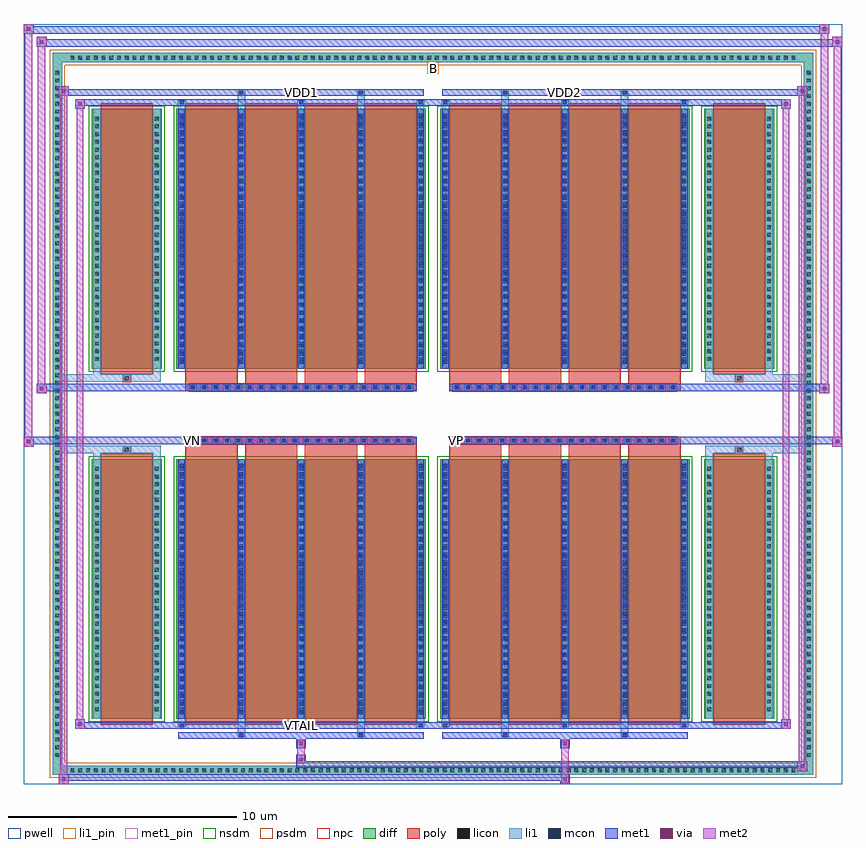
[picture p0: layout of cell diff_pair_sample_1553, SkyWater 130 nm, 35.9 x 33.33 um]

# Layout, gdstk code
import gdstk
lib = gdstk.Library(unit=1e-6, precision=5e-09)
def R(c, l, rs):  # rectangles x0, y0, x1, y1
    for r in rs: c.add(gdstk.rectangle(r[:2], r[2:], *l))
def A(c, l, x, y, w, h, nx, ny, dx, dy):  # array of equal rectangles
    R(c, l, [(x+i*dx, y+j*dy, x+i*dx+w, y+j*dy+h) for i in range(nx) for j in range(ny)])
def P(c, l, *ps):  # polygons
    for p in ps: c.add(gdstk.Polygon(p, *l))
pwell = (64, 44)
diff = (65, 20)
poly = (66, 20)
licon = (66, 44)
li1_pin = (67, 16)
li1 = (67, 20)
mcon = (67, 44)
met1_pin = (68, 16)
met1 = (68, 20)
via = (68, 44)
met2 = (69, 20)
nsdm = (93, 44)
psdm = (94, 20)
npc = (95, 20)

diff_pair_sample_1553 = lib.new_cell('diff_pair_sample_1553')
R(diff_pair_sample_1553, pwell, [(-17.95,-16.23,17.95,17.1), (-15.27,-14.42,-0.01,-0.8), (0.01,-14.42,15.27,-0.8), (-15.27,0.8,-0.01,14.42), (0.01,0.8,15.27,14.42)])
A(diff_pair_sample_1553, diff, -16.015, -15.83, 0.41, 0.41, 94, 2, 0.34, 31.25)
A(diff_pair_sample_1553, diff, -16.68, -15.165, 0.41, 0.41, 1, 89, 0, 0.34)
A(diff_pair_sample_1553, diff, 16.27, -15.165, 0.41, 0.41, 1, 89, 0, 0.34)
R(diff_pair_sample_1553, diff, [(-16.015,-15.83,16.015,-15.42), (-16.68,-15.165,-16.27,15.165), (16.27,-15.165,16.68,15.165), (-14.96,-13.375,-11.89,-1.985), (-11.25,-13.375,-0.32,-1.985), (0.32,-13.375,11.25,-1.985), (11.89,-13.375,14.96,-1.985), (-14.96,1.985,-11.89,13.375), (-11.25,1.985,-0.32,13.375), (0.32,1.985,11.25,13.375), (11.89,1.985,14.96,13.375), (-16.015,15.42,16.015,15.83)])
P(diff_pair_sample_1553, diff, [(16.68,15.83),(-16.68,15.83),(-16.68,-15.42),(-16.27,-15.42),(-16.27,15.42),(16.27,15.42),(16.27,-15.42),(-16.27,-15.42),(-16.68,-15.42),(-16.68,-15.83),(16.68,-15.83)])
A(diff_pair_sample_1553, poly, -10.86, -13.625, 2.29, 11.89, 4, 2, 2.62, 15.36)
A(diff_pair_sample_1553, poly, 0.71, -13.625, 2.29, 11.89, 4, 2, 2.62, 15.36)
A(diff_pair_sample_1553, poly, -10.86, -1.735, 2.29, 0.405, 4, 2, 2.62, 3.065)
A(diff_pair_sample_1553, poly, 0.71, -1.735, 2.29, 0.405, 4, 2, 2.62, 3.065)
A(diff_pair_sample_1553, poly, -10.7, -1.33, 0.33, 0.33, 20, 2, 0.5, 2.33)
A(diff_pair_sample_1553, poly, 0.87, -1.33, 0.33, 0.33, 20, 2, 0.5, 2.33)
R(diff_pair_sample_1553, poly, [(-14.57,-13.625,-12.28,-1.735), (12.28,-13.625,14.57,-1.735), (-13.59,-1.735,-13.26,-1.405), (-13.59,-1.735,-13.26,-1.405), (13.26,-1.735,13.59,-1.405), (13.26,-1.735,13.59,-1.405), (-10.86,-1.33,-0.71,-1), (0.71,-1.33,10.86,-1), (-10.86,1,-0.71,1.33), (0.71,1,10.86,1.33), (-13.59,1.405,-13.26,1.735), (-13.59,1.405,-13.26,1.735), (13.26,1.405,13.59,1.735), (13.26,1.405,13.59,1.735), (-14.57,1.735,-12.28,13.625), (12.28,1.735,14.57,13.625)])
A(diff_pair_sample_1553, licon, -15.895, -15.71, 0.17, 0.17, 94, 2, 0.34, 31.25)
A(diff_pair_sample_1553, licon, -16.56, -15.045, 0.17, 0.17, 1, 89, 0, 0.34)
A(diff_pair_sample_1553, licon, 16.39, -15.045, 0.17, 0.17, 1, 89, 0, 0.34)
A(diff_pair_sample_1553, licon, -14.82, -13.035, 0.17, 0.17, 1, 32, 0, 0.34)
A(diff_pair_sample_1553, licon, -12.2, -13.035, 0.17, 0.17, 1, 32, 0, 0.34)
A(diff_pair_sample_1553, licon, -11.11, -13.035, 0.17, 0.17, 5, 32, 2.62, 0.34)
A(diff_pair_sample_1553, licon, 0.46, -13.035, 0.17, 0.17, 5, 32, 2.62, 0.34)
A(diff_pair_sample_1553, licon, 12.03, -13.035, 0.17, 0.17, 1, 32, 0, 0.34)
A(diff_pair_sample_1553, licon, 14.65, -13.035, 0.17, 0.17, 1, 32, 0, 0.34)
A(diff_pair_sample_1553, licon, -10.62, -1.25, 0.17, 0.17, 20, 2, 0.5, 2.33)
A(diff_pair_sample_1553, licon, 0.95, -1.25, 0.17, 0.17, 20, 2, 0.5, 2.33)
A(diff_pair_sample_1553, licon, -14.82, 2.325, 0.17, 0.17, 1, 32, 0, 0.34)
A(diff_pair_sample_1553, licon, -12.2, 2.325, 0.17, 0.17, 1, 32, 0, 0.34)
A(diff_pair_sample_1553, licon, -11.11, 2.325, 0.17, 0.17, 5, 32, 2.62, 0.34)
A(diff_pair_sample_1553, licon, 0.46, 2.325, 0.17, 0.17, 5, 32, 2.62, 0.34)
A(diff_pair_sample_1553, licon, 12.03, 2.325, 0.17, 0.17, 1, 32, 0, 0.34)
A(diff_pair_sample_1553, licon, 14.65, 2.325, 0.17, 0.17, 1, 32, 0, 0.34)
R(diff_pair_sample_1553, licon, [(-13.51,-1.655,-13.34,-1.485), (13.34,-1.655,13.51,-1.485), (-13.51,1.485,-13.34,1.655), (13.34,1.485,13.51,1.655)])
R(diff_pair_sample_1553, li1_pin, [(-0.25,14.92,0.25,15.42)])
A(diff_pair_sample_1553, li1, -15.975, -15.79, 0.33, 0.33, 94, 2, 0.34, 31.25)
A(diff_pair_sample_1553, li1, -16.64, -15.125, 0.33, 0.33, 1, 89, 0, 0.34)
A(diff_pair_sample_1553, li1, 16.31, -15.125, 0.33, 0.33, 1, 89, 0, 0.34)
A(diff_pair_sample_1553, li1, -11.19, -13.75, 0.33, 0.375, 3, 2, 5.24, 27.125)
A(diff_pair_sample_1553, li1, -11.11, -13.75, 0.17, 0.17, 3, 2, 5.24, 27.33)
A(diff_pair_sample_1553, li1, 0.38, -13.75, 0.33, 0.375, 3, 2, 5.24, 27.125)
A(diff_pair_sample_1553, li1, 0.46, -13.75, 0.17, 0.17, 3, 2, 5.24, 27.33)
A(diff_pair_sample_1553, li1, -11.19, -13.375, 0.33, 11.39, 5, 2, 2.62, 15.36)
A(diff_pair_sample_1553, li1, 0.38, -13.375, 0.33, 11.39, 5, 2, 2.62, 15.36)
A(diff_pair_sample_1553, li1, -11.11, -13.165, 0.17, 0.17, 5, 31, 2.62, 0.36)
A(diff_pair_sample_1553, li1, -11.11, -13.165, 0.17, 10.97, 5, 2, 2.62, 15.36)
A(diff_pair_sample_1553, li1, 0.46, -13.165, 0.17, 0.17, 5, 31, 2.62, 0.36)
A(diff_pair_sample_1553, li1, 0.46, -13.165, 0.17, 10.97, 5, 2, 2.62, 15.36)
A(diff_pair_sample_1553, li1, -14.9, -13.115, 0.33, 0.33, 1, 32, 0, 0.34)
A(diff_pair_sample_1553, li1, -12.28, -13.115, 0.33, 0.33, 1, 32, 0, 0.34)
A(diff_pair_sample_1553, li1, -11.19, -13.115, 0.33, 0.33, 5, 32, 2.62, 0.34)
A(diff_pair_sample_1553, li1, 0.38, -13.115, 0.33, 0.33, 5, 32, 2.62, 0.34)
A(diff_pair_sample_1553, li1, 11.95, -13.115, 0.33, 0.33, 1, 32, 0, 0.34)
A(diff_pair_sample_1553, li1, 14.57, -13.115, 0.33, 0.33, 1, 32, 0, 0.34)
A(diff_pair_sample_1553, li1, -10.7, -1.33, 0.33, 0.33, 20, 2, 0.5, 2.33)
A(diff_pair_sample_1553, li1, 0.87, -1.33, 0.33, 0.33, 20, 2, 0.5, 2.33)
A(diff_pair_sample_1553, li1, -11.11, 2.195, 0.17, 0.17, 5, 31, 2.62, 0.36)
A(diff_pair_sample_1553, li1, 0.46, 2.195, 0.17, 0.17, 5, 31, 2.62, 0.36)
A(diff_pair_sample_1553, li1, -14.9, 2.245, 0.33, 0.33, 1, 32, 0, 0.34)
A(diff_pair_sample_1553, li1, -12.28, 2.245, 0.33, 0.33, 1, 32, 0, 0.34)
A(diff_pair_sample_1553, li1, -11.19, 2.245, 0.33, 0.33, 5, 32, 2.62, 0.34)
A(diff_pair_sample_1553, li1, 0.38, 2.245, 0.33, 0.33, 5, 32, 2.62, 0.34)
A(diff_pair_sample_1553, li1, 11.95, 2.245, 0.33, 0.33, 1, 32, 0, 0.34)
A(diff_pair_sample_1553, li1, 14.57, 2.245, 0.33, 0.33, 1, 32, 0, 0.34)
R(diff_pair_sample_1553, li1, [(-16.68,-15.83,-16.27,-15.42), (-16.68,-15.83,-16.27,-15.42), (-16.27,-15.83,16.27,-15.42), (16.27,-15.83,16.68,-15.42), (16.27,-15.83,16.68,-15.42), (-16.68,-15.42,-16.27,15.42), (16.27,-15.42,16.68,15.42), (-8.57,-14.18,-8.24,-13.375), (-8.49,-14.18,-8.32,-14.01), (-3.33,-14.18,-3,-13.375), (-3.25,-14.18,-3.08,-14.01), (3,-14.18,3.33,-13.375), (3.08,-14.18,3.25,-14.01), (8.24,-14.18,8.57,-13.375), (8.32,-14.18,8.49,-14.01), (-14.9,-13.375,-14.57,-1.985), (-12.28,-13.375,-11.95,-1.985), (11.95,-13.375,12.28,-1.985), (14.57,-13.375,14.9,-1.985), (-14.9,-1.985,-14.57,-1.405), (-12.28,-1.985,-11.95,-1.405), (11.95,-1.985,12.28,-1.405), (14.57,-1.985,14.9,-1.405), (-16.68,-1.735,-13.59,-1.405), (-14.9,-1.735,-13.59,-1.405), (-13.59,-1.735,-13.26,-1.405), (-13.26,-1.735,-11.95,-1.405), (11.95,-1.735,13.26,-1.405), (13.26,-1.735,13.59,-1.405), (13.26,-1.735,16.68,-1.405), (13.59,-1.735,14.9,-1.405), (-16.68,1.405,-13.59,1.735), (-14.9,1.405,-13.59,1.735), (-14.9,1.405,-14.57,1.985), (-13.59,1.405,-13.26,1.735), (-13.26,1.405,-11.95,1.735), (-12.28,1.405,-11.95,1.985), (11.95,1.405,13.26,1.735), (11.95,1.405,12.28,1.985), (13.26,1.405,13.59,1.735), (13.26,1.405,16.68,1.735), (13.59,1.405,14.9,1.735), (14.57,1.405,14.9,1.985), (-14.9,1.985,-14.57,13.375), (-12.28,1.985,-11.95,13.375), (11.95,1.985,12.28,13.375), (14.57,1.985,14.9,13.375), (-8.57,13.375,-8.24,14.18), (-3.33,13.375,-3,14.18), (3,13.375,3.33,14.18), (8.24,13.375,8.57,14.18), (-8.49,14.01,-8.32,14.18), (-3.25,14.01,-3.08,14.18), (3.08,14.01,3.25,14.18), (8.32,14.01,8.49,14.18), (-16.68,15.42,-16.27,15.83), (-16.68,15.42,-16.27,15.83), (-16.27,15.42,16.27,15.83), (16.27,15.42,16.68,15.83), (16.27,15.42,16.68,15.83)])
A(diff_pair_sample_1553, mcon, -11.11, -13.75, 0.17, 0.17, 3, 2, 5.24, 27.33)
A(diff_pair_sample_1553, mcon, 0.46, -13.75, 0.17, 0.17, 3, 2, 5.24, 27.33)
A(diff_pair_sample_1553, mcon, -11.11, -13.165, 0.17, 0.17, 5, 31, 2.62, 0.36)
A(diff_pair_sample_1553, mcon, 0.46, -13.165, 0.17, 0.17, 5, 31, 2.62, 0.36)
A(diff_pair_sample_1553, mcon, -10.62, -1.25, 0.17, 0.17, 20, 2, 0.5, 2.33)
A(diff_pair_sample_1553, mcon, 0.95, -1.25, 0.17, 0.17, 20, 2, 0.5, 2.33)
A(diff_pair_sample_1553, mcon, -11.11, 2.195, 0.17, 0.17, 5, 31, 2.62, 0.36)
A(diff_pair_sample_1553, mcon, 0.46, 2.195, 0.17, 0.17, 5, 31, 2.62, 0.36)
R(diff_pair_sample_1553, mcon, [(-8.49,-14.18,-8.32,-14.01), (-3.25,-14.18,-3.08,-14.01), (3.08,-14.18,3.25,-14.01), (8.32,-14.18,8.49,-14.01), (-8.49,14.01,-8.32,14.18), (-3.25,14.01,-3.08,14.18), (3.08,14.01,3.25,14.18), (8.32,14.01,8.49,14.18)])
R(diff_pair_sample_1553, met1_pin, [(-5.92,-13.79,-5.65,-13.52), (-10.67,-1.29,-10.4,-1.02), (0.9,-1.29,1.17,-1.02), (-5.92,13.97,-5.65,14.24), (5.65,13.97,5.92,14.24)])
A(diff_pair_sample_1553, met1, -11.17, -13.81, 0.29, 0.29, 3, 2, 5.24, 27.33)
A(diff_pair_sample_1553, met1, 0.4, -13.81, 0.29, 0.29, 3, 2, 5.24, 27.33)
A(diff_pair_sample_1553, met1, -11.17, -13.375, 0.29, 11.39, 5, 2, 2.62, 15.36)
A(diff_pair_sample_1553, met1, 0.4, -13.375, 0.29, 11.39, 5, 2, 2.62, 15.36)
A(diff_pair_sample_1553, met1, -11.17, -13.225, 0.29, 0.29, 5, 31, 2.62, 0.36)
A(diff_pair_sample_1553, met1, 0.4, -13.225, 0.29, 0.29, 5, 31, 2.62, 0.36)
A(diff_pair_sample_1553, met1, -10.68, -1.31, 0.29, 0.29, 20, 2, 0.5, 2.33)
A(diff_pair_sample_1553, met1, 0.89, -1.31, 0.29, 0.29, 20, 2, 0.5, 2.33)
A(diff_pair_sample_1553, met1, -11.17, 2.135, 0.29, 0.29, 5, 31, 2.62, 0.36)
A(diff_pair_sample_1553, met1, 0.4, 2.135, 0.29, 0.29, 5, 31, 2.62, 0.36)
R(diff_pair_sample_1553, met1, [(-16.41,-16.23,-15.98,-15.8), (5.57,-16.23,6,-15.8), (-16.41,-16.09,6,-15.8), (15.98,-15.66,16.41,-15.23), (-6,-15.52,16.41,-15.23), (-6,-15.38,-5.57,-14.95), (-6,-14.67,-5.57,-14.24), (5.57,-14.67,6,-14.24), (-11.17,-14.24,-0.4,-13.95), (-8.55,-14.24,-8.26,-13.95), (-3.31,-14.24,-3.02,-13.95), (0.4,-14.24,11.17,-13.95), (3.02,-14.24,3.31,-13.95), (8.26,-14.24,8.55,-13.95), (-15.7,-13.81,-15.27,-13.38), (-15.7,-13.81,-11.17,-13.52), (-11.17,-13.81,-0.4,-13.52), (-0.4,-13.81,0.4,-13.52), (0.4,-13.81,11.17,-13.52), (11.17,-13.81,15.7,-13.52), (15.27,-13.81,15.7,-13.38), (-17.95,-1.43,-17.52,-1), (17.52,-1.43,17.95,-1), (-17.95,-1.33,-0.71,-1), (-10.86,-1.33,-0.71,-1), (0.71,-1.33,10.86,-1), (0.71,-1.33,17.95,-1), (-17.38,0.9,-16.95,1.33), (16.95,0.9,17.38,1.33), (-17.38,1,-10.86,1.33), (-10.86,1,-0.71,1.33), (0.71,1,10.86,1.33), (10.86,1,17.38,1.33), (-15.7,13.38,-15.27,13.81), (15.27,13.38,15.7,13.81), (-15.7,13.52,-11.17,13.81), (-11.17,13.52,-0.4,13.81), (-0.4,13.52,0.4,13.81), (0.4,13.52,11.17,13.81), (11.17,13.52,15.7,13.81), (-16.41,13.95,-15.98,14.38), (-16.41,13.95,-11.17,14.24), (-11.17,13.95,-0.4,14.24), (-8.55,13.95,-8.26,14.24), (-3.31,13.95,-3.02,14.24), (0.4,13.95,11.17,14.24), (3.02,13.95,3.31,14.24), (8.26,13.95,8.55,14.24), (11.17,13.95,16.41,14.24), (15.98,13.95,16.41,14.38), (-17.38,16.1,-16.95,16.53), (-17.38,16.1,-15.27,16.43), (-15.27,16.1,15.27,16.43), (15.27,16.1,17.95,16.43), (17.52,16.1,17.95,16.53), (-17.95,16.67,-17.52,17.1), (-17.95,16.67,-15.27,17), (-15.27,16.67,15.27,17), (15.27,16.67,17.38,17), (16.95,16.67,17.38,17.1)])
R(diff_pair_sample_1553, via, [(-16.27,-16.09,-16.12,-15.94), (5.71,-16.09,5.86,-15.94), (16.12,-15.52,16.27,-15.37), (-5.86,-15.24,-5.71,-15.09), (-5.86,-14.53,-5.71,-14.38), (5.71,-14.53,5.86,-14.38), (-15.56,-13.67,-15.41,-13.52), (15.41,-13.67,15.56,-13.52), (-17.81,-1.29,-17.66,-1.14), (17.66,-1.29,17.81,-1.14), (-17.24,1.04,-17.09,1.19), (17.09,1.04,17.24,1.19), (-15.56,13.52,-15.41,13.67), (15.41,13.52,15.56,13.67), (-16.27,14.09,-16.12,14.24), (16.12,14.09,16.27,14.24), (-17.24,16.24,-17.09,16.39), (17.66,16.24,17.81,16.39), (-17.81,16.81,-17.66,16.96), (17.09,16.81,17.24,16.96)])
R(diff_pair_sample_1553, met2, [(-16.41,-16.23,-15.98,-15.8), (-16.34,-16.23,-16.05,14.38), (-16.05,-16.23,-15.98,-15.8), (-16.36,-16.18,-16.03,-15.85), (5.62,-16.18,5.95,-15.85), (5.62,-15.85,5.95,-14.62), (15.98,-15.66,16.41,-15.23), (16.05,-15.66,16.34,14.38), (16.34,-15.66,16.41,-15.23), (16.03,-15.61,16.36,-15.28), (-5.95,-15.33,-5.62,-15), (-5.95,-15,-5.62,-14.62), (-5.95,-14.62,-5.62,-14.29), (5.62,-14.62,5.95,-14.29), (-15.7,-13.81,-15.27,-13.38), (-15.63,-13.81,-15.34,13.81), (-15.34,-13.81,-15.27,-13.38), (15.27,-13.81,15.7,-13.38), (15.34,-13.81,15.63,13.81), (15.63,-13.81,15.7,-13.38), (-15.65,-13.76,-15.32,-13.43), (15.32,-13.76,15.65,-13.43), (-17.95,-1.43,-17.52,-1), (-17.9,-1.43,-17.57,17.1), (-17.57,-1.43,-17.52,-1), (17.52,-1.43,17.95,-1), (17.57,-1.43,17.9,16.53), (17.9,-1.43,17.95,-1), (-17.9,-1.38,-17.57,-1.05), (17.57,-1.38,17.9,-1.05), (-17.38,0.9,-16.95,1.33), (-17.33,0.9,-17,16.53), (-17,0.9,-16.95,1.33), (16.95,0.9,17.38,1.33), (17,0.9,17.33,17.1), (17.33,0.9,17.38,1.33), (-17.33,0.95,-17,1.28), (17,0.95,17.33,1.28), (-15.7,13.38,-15.27,13.81), (-15.34,13.38,-15.27,13.81), (15.27,13.38,15.7,13.81), (15.63,13.38,15.7,13.81), (-15.65,13.43,-15.32,13.76), (15.32,13.43,15.65,13.76), (-16.41,13.95,-15.98,14.38), (-16.05,13.95,-15.98,14.38), (15.98,13.95,16.41,14.38), (16.34,13.95,16.41,14.38), (-16.36,14,-16.03,14.33), (16.03,14,16.36,14.33), (-17.38,16.1,-16.95,16.53), (-17,16.1,-16.95,16.53), (17.52,16.1,17.95,16.53), (17.9,16.1,17.95,16.53), (-17.33,16.15,-17,16.48), (17.57,16.15,17.9,16.48), (-17.95,16.67,-17.52,17.1), (-17.57,16.67,-17.52,17.1), (16.95,16.67,17.38,17.1), (17.33,16.67,17.38,17.1), (-17.9,16.72,-17.57,17.05), (17,16.72,17.33,17.05)])
R(diff_pair_sample_1553, nsdm, [(-15.09,-13.505,-11.76,-1.855), (-11.38,-13.505,-0.19,-1.855), (0.19,-13.505,11.38,-1.855), (11.76,-13.505,15.09,-1.855), (-15.09,1.855,-11.76,13.505), (-11.38,1.855,-0.19,13.505), (0.19,1.855,11.38,13.505), (11.76,1.855,15.09,13.505)])
P(diff_pair_sample_1553, psdm, [(16.81,15.96),(-16.81,15.96),(-16.81,-15.29),(-16.14,-15.29),(-16.14,15.29),(16.14,15.29),(16.14,-15.29),(-16.14,-15.29),(-16.81,-15.29),(-16.81,-15.96),(16.81,-15.96)])
A(diff_pair_sample_1553, npc, -10.72, -1.35, 0.37, 0.37, 20, 2, 0.5, 2.33)
A(diff_pair_sample_1553, npc, 0.85, -1.35, 0.37, 0.37, 20, 2, 0.5, 2.33)
R(diff_pair_sample_1553, npc, [(-13.61,-1.755,-13.24,-1.385), (13.24,-1.755,13.61,-1.385), (-10.72,-1.35,-9.85,-0.98), (-10.72,-1.35,-9.85,-0.98), (-10.22,-1.35,-9.35,-0.98), (-10.22,-1.35,-9.35,-0.98), (-9.72,-1.35,-8.85,-0.98), (-9.72,-1.35,-8.85,-0.98), (-9.22,-1.35,-8.35,-0.98), (-9.22,-1.35,-8.35,-0.98), (-8.72,-1.35,-7.85,-0.98), (-8.72,-1.35,-7.85,-0.98), (-8.22,-1.35,-7.35,-0.98), (-8.22,-1.35,-7.35,-0.98), (-7.72,-1.35,-6.85,-0.98), (-7.72,-1.35,-6.85,-0.98), (-7.22,-1.35,-6.35,-0.98), (-7.22,-1.35,-6.35,-0.98), (-6.72,-1.35,-5.85,-0.98), (-6.72,-1.35,-5.85,-0.98), (-6.22,-1.35,-5.35,-0.98), (-6.22,-1.35,-5.35,-0.98), (-5.72,-1.35,-4.85,-0.98), (-5.72,-1.35,-4.85,-0.98), (-5.22,-1.35,-4.35,-0.98), (-5.22,-1.35,-4.35,-0.98), (-4.72,-1.35,-3.85,-0.98), (-4.72,-1.35,-3.85,-0.98), (-4.22,-1.35,-3.35,-0.98), (-4.22,-1.35,-3.35,-0.98), (-3.72,-1.35,-2.85,-0.98), (-3.72,-1.35,-2.85,-0.98), (-3.22,-1.35,-2.35,-0.98), (-3.22,-1.35,-2.35,-0.98), (-2.72,-1.35,-1.85,-0.98), (-2.72,-1.35,-1.85,-0.98), (-2.22,-1.35,-1.35,-0.98), (-2.22,-1.35,-1.35,-0.98), (-1.72,-1.35,-0.85,-0.98), (-1.72,-1.35,-0.85,-0.98), (0.85,-1.35,1.72,-0.98), (0.85,-1.35,1.72,-0.98), (1.35,-1.35,2.22,-0.98), (1.35,-1.35,2.22,-0.98), (1.85,-1.35,2.72,-0.98), (1.85,-1.35,2.72,-0.98), (2.35,-1.35,3.22,-0.98), (2.35,-1.35,3.22,-0.98), (2.85,-1.35,3.72,-0.98), (2.85,-1.35,3.72,-0.98), (3.35,-1.35,4.22,-0.98), (3.35,-1.35,4.22,-0.98), (3.85,-1.35,4.72,-0.98), (3.85,-1.35,4.72,-0.98), (4.35,-1.35,5.22,-0.98), (4.35,-1.35,5.22,-0.98), (4.85,-1.35,5.72,-0.98), (4.85,-1.35,5.72,-0.98), (5.35,-1.35,6.22,-0.98), (5.35,-1.35,6.22,-0.98), (5.85,-1.35,6.72,-0.98), (5.85,-1.35,6.72,-0.98), (6.35,-1.35,7.22,-0.98), (6.35,-1.35,7.22,-0.98), (6.85,-1.35,7.72,-0.98), (6.85,-1.35,7.72,-0.98), (7.35,-1.35,8.22,-0.98), (7.35,-1.35,8.22,-0.98), (7.85,-1.35,8.72,-0.98), (7.85,-1.35,8.72,-0.98), (8.35,-1.35,9.22,-0.98), (8.35,-1.35,9.22,-0.98), (8.85,-1.35,9.72,-0.98), (8.85,-1.35,9.72,-0.98), (9.35,-1.35,10.22,-0.98), (9.35,-1.35,10.22,-0.98), (9.85,-1.35,10.72,-0.98), (9.85,-1.35,10.72,-0.98), (-10.72,0.98,-9.85,1.35), (-10.72,0.98,-9.85,1.35), (-10.22,0.98,-9.35,1.35), (-10.22,0.98,-9.35,1.35), (-9.72,0.98,-8.85,1.35), (-9.72,0.98,-8.85,1.35), (-9.22,0.98,-8.35,1.35), (-9.22,0.98,-8.35,1.35), (-8.72,0.98,-7.85,1.35), (-8.72,0.98,-7.85,1.35), (-8.22,0.98,-7.35,1.35), (-8.22,0.98,-7.35,1.35), (-7.72,0.98,-6.85,1.35), (-7.72,0.98,-6.85,1.35), (-7.22,0.98,-6.35,1.35), (-7.22,0.98,-6.35,1.35), (-6.72,0.98,-5.85,1.35), (-6.72,0.98,-5.85,1.35), (-6.22,0.98,-5.35,1.35), (-6.22,0.98,-5.35,1.35), (-5.72,0.98,-4.85,1.35), (-5.72,0.98,-4.85,1.35), (-5.22,0.98,-4.35,1.35), (-5.22,0.98,-4.35,1.35), (-4.72,0.98,-3.85,1.35), (-4.72,0.98,-3.85,1.35), (-4.22,0.98,-3.35,1.35), (-4.22,0.98,-3.35,1.35), (-3.72,0.98,-2.85,1.35), (-3.72,0.98,-2.85,1.35), (-3.22,0.98,-2.35,1.35), (-3.22,0.98,-2.35,1.35), (-2.72,0.98,-1.85,1.35), (-2.72,0.98,-1.85,1.35), (-2.22,0.98,-1.35,1.35), (-2.22,0.98,-1.35,1.35), (-1.72,0.98,-0.85,1.35), (-1.72,0.98,-0.85,1.35), (0.85,0.98,1.72,1.35), (0.85,0.98,1.72,1.35), (1.35,0.98,2.22,1.35), (1.35,0.98,2.22,1.35), (1.85,0.98,2.72,1.35), (1.85,0.98,2.72,1.35), (2.35,0.98,3.22,1.35), (2.35,0.98,3.22,1.35), (2.85,0.98,3.72,1.35), (2.85,0.98,3.72,1.35), (3.35,0.98,4.22,1.35), (3.35,0.98,4.22,1.35), (3.85,0.98,4.72,1.35), (3.85,0.98,4.72,1.35), (4.35,0.98,5.22,1.35), (4.35,0.98,5.22,1.35), (4.85,0.98,5.72,1.35), (4.85,0.98,5.72,1.35), (5.35,0.98,6.22,1.35), (5.35,0.98,6.22,1.35), (5.85,0.98,6.72,1.35), (5.85,0.98,6.72,1.35), (6.35,0.98,7.22,1.35), (6.35,0.98,7.22,1.35), (6.85,0.98,7.72,1.35), (6.85,0.98,7.72,1.35), (7.35,0.98,8.22,1.35), (7.35,0.98,8.22,1.35), (7.85,0.98,8.72,1.35), (7.85,0.98,8.72,1.35), (8.35,0.98,9.22,1.35), (8.35,0.98,9.22,1.35), (8.85,0.98,9.72,1.35), (8.85,0.98,9.72,1.35), (9.35,0.98,10.22,1.35), (9.35,0.98,10.22,1.35), (9.85,0.98,10.72,1.35), (9.85,0.98,10.72,1.35), (-13.61,1.385,-13.24,1.755), (13.24,1.385,13.61,1.755)])
diff_pair_sample_1553.add(gdstk.Label('VTAIL', (-5.785,-13.655), layer=68, texttype=5))
diff_pair_sample_1553.add(gdstk.Label('VN', (-10.535,-1.155), layer=68, texttype=5))
diff_pair_sample_1553.add(gdstk.Label('VP', (1.035,-1.155), layer=68, texttype=5))
diff_pair_sample_1553.add(gdstk.Label('B', (0,15.17), layer=67, texttype=5))
diff_pair_sample_1553.add(gdstk.Label('VDD2', (5.785,14.105), layer=68, texttype=5))
diff_pair_sample_1553.add(gdstk.Label('VDD1', (-5.785,14.105), layer=68, texttype=5))

lib.write_gds('diff_pair_sample_1553.gds')
